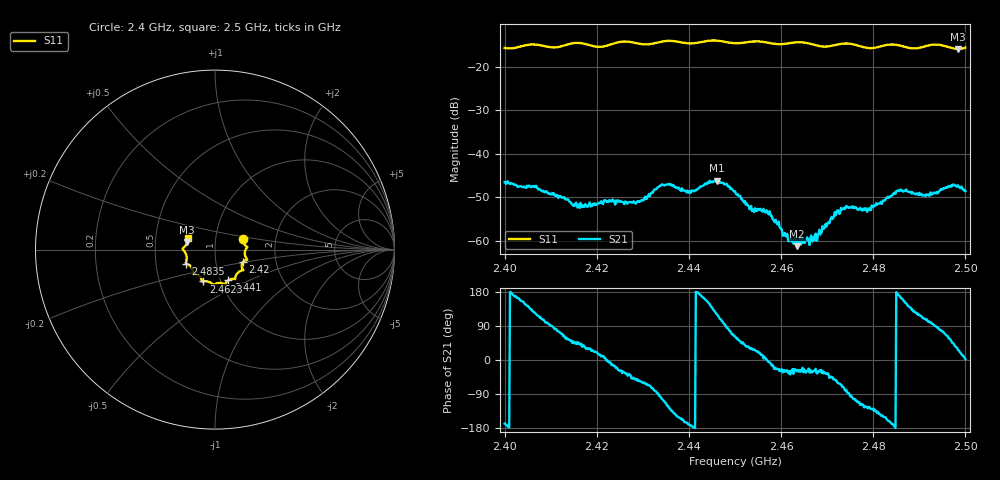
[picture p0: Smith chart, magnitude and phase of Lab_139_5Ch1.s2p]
# Hz S RI R 50
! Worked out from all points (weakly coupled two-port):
!   601 points, 2.4 GHz to 2.5 GHz, reference 50 ohm
!   highest |S21| = -46.16 dB at 2.446 GHz (marker M1); lowest = -61.2 dB at 2.4635 GHz (marker M2)
!   lowest |S11| = -15.9 dB at 2.4983 GHz (marker M3), VSWR 1.38, Z = 36.5 + j3.09 ohm
!   |S11| at or under -10 dB: start of sweep to end of sweep
!   S12 and S22 are empty: the file has one direction only
!   S11 on the Smith chart (normalised r, x): 2.4 GHz: 1.35, +0.16; 2.42 GHz: 1.35, -0.20; 2.441 GHz: 1.09, -0.39; 2.4623 GHz: 0.83, -0.30; 2.4835 GHz: 0.71, -0.12; 2.5 GHz: 0.73, +0.10
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2.4e9  0.1541 0.0591  -0.00463 -0.001  0 0  0 0
2.4065e9  0.1803 0.0144  -0.00246 0.00351  0 0  0 0
2.416667e9  0.178 -0.057  0.00179 0.00166  0 0  0 0
2.42e9  0.1548 -0.0707  0.0025 0.000934  0 0  0 0
2.428833e9  0.1437 -0.1182  0.00179 -0.00222  0 0  0 0
2.433333e9  0.1132 -0.1537  0.000124 -0.00417  0 0  0 0
2.441e9  0.0749 -0.1706  -0.00374 -0.000138  0 0  0 0
2.446e9  0.0531 -0.1932  -0.00255 0.00421  0 0  0 0
2.45e9  0.025 -0.1854  0.00172 0.00331  0 0  0 0
2.453667e9  -0.00405 -0.195  0.00191 0.00111  0 0  0 0
2.457333e9  -0.0197 -0.1877  0.00201 -0.000188  0 0  0 0
2.462333e9  -0.0656 -0.1771  0.000884 -0.000453  0 0  0 0
2.4635e9  -0.071 -0.1781  0.000784 -0.00038  0 0  0 0
2.466667e9  -0.075 -0.1661  0.000881 -0.000575  0 0  0 0
2.4735e9  -0.1235 -0.1375  0.000768 -0.00225  0 0  0 0
2.479e9  -0.1298 -0.1009  -0.0013 -0.0019  0 0  0 0
2.483333e9  -0.1616 -0.0788  -0.00294 -0.00102  0 0  0 0
2.4835e9  -0.1621 -0.0787  -0.00303 -0.00102  0 0  0 0
2.4855e9  -0.1621 -0.0715  -0.00378 0.000595  0 0  0 0
2.491667e9  -0.1746 -0.00431  -0.000976 0.00321  0 0  0 0
2.498333e9  -0.1551 0.0413  0.00388 0.00202  0 0  0 0
2.5e9  -0.1528 0.0654  0.00374 0.000153  0 0  0 0
